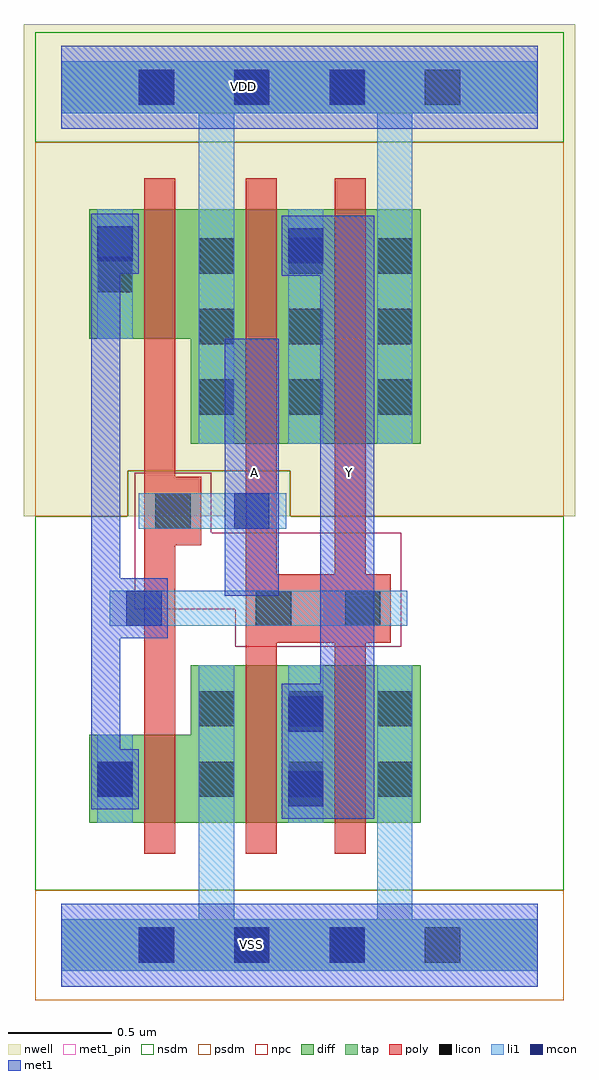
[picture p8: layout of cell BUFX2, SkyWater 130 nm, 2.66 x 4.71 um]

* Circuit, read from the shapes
.subckt BUFX2 A VDD VSS Y
XM1 VSS A n1 VSS sky130_fd_pr__nfet_01v8 w=0.425 l=0.15
XM2 Y n1 VSS VSS sky130_fd_pr__nfet_01v8 w=0.76 l=0.15 m=2
XM3 VDD A n1 VDD sky130_fd_pr__pfet_01v8 w=0.625 l=0.15
XM4 Y n1 VDD VDD sky130_fd_pr__pfet_01v8 w=1.13 l=0.15 m=2
.ends

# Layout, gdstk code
from math import pi, radians
import gdstk
lib = gdstk.Library(unit=1e-6, precision=1e-09)
def R(c, l, rs):  # rectangles x0, y0, x1, y1
    for r in rs: c.add(gdstk.rectangle(r[:2], r[2:], *l))
def A(c, l, x, y, w, h, nx, ny, dx, dy):  # array of equal rectangles
    R(c, l, [(x+i*dx, y+j*dy, x+i*dx+w, y+j*dy+h) for i in range(nx) for j in range(ny)])
def P(c, l, *ps):  # polygons
    for p in ps: c.add(gdstk.Polygon(p, *l))
nwell = (64, 20)
diff = (65, 20)
tap = (65, 44)
poly = (66, 20)
licon = (66, 44)
li1 = (67, 20)
mcon = (67, 44)
met1_pin = (68, 16)
met1 = (68, 20)
nsdm = (93, 44)
psdm = (94, 20)
npc = (95, 20)

pyl1con_c_cdns_751554744 = lib.new_cell('PYL1CON_C_CDNS_751554744751')
R(pyl1con_c_cdns_751554744, poly, [(-0.135,-0.165,0.135,0.165)])
R(pyl1con_c_cdns_751554744, licon, [(-0.085,-0.085,0.085,0.085)])
R(pyl1con_c_cdns_751554744, npc, [(-0.185,-0.185,0.185,0.185)])

bufx2 = lib.new_cell('BUFX2')
R(bufx2, nwell, [(-0.18,2.07,2.48,4.445)])
P(bufx2, diff, [(1.735,1.35),(0.625,1.35),(0.625,1.015),(0.135,1.015),(0.135,0.59),(1.735,0.59)],
  [(1.735,3.55),(0.135,3.55),(0.135,2.925),(0.625,2.925),(0.625,2.42),(1.735,2.42)])
R(bufx2, poly, [(0.4,0.44,0.55,3.7)])
P(bufx2, poly, [(1.59,1.79),(1.47,1.79),(1.47,3.7),(1.32,3.7),(1.32,1.79),(1.04,1.79),(1.04,3.7),(0.89,3.7),(0.89,0.44),(1.04,0.44),(1.04,1.46),(1.32,1.46),(1.32,0.44),(1.47,0.44),(1.47,1.46),(1.59,1.46)])
A(bufx2, licon, 0.375, -0.085, 0.17, 0.17, 4, 2, 0.46, 4.14)
A(bufx2, licon, 0.665, 0.715, 0.17, 0.17, 3, 2, 0.43, 0.34)
A(bufx2, licon, 0.665, 2.56, 0.17, 0.17, 3, 3, 0.43, 0.34)
R(bufx2, licon, [(0.175,0.715,0.345,0.885), (0.175,3.15,0.345,3.32)])
R(bufx2, li1, [(0.175,0.59,0.345,1.015), (1.095,0.59,1.265,1.28), (1.095,0.59,1.265,1.35), (0.175,0.635,0.345,0.965), (0.235,1.54,0.565,1.71), (0.755,2.01,1.085,2.18), (1.095,2.42,1.265,3.55), (0.175,2.925,0.345,3.55), (1.095,3.21,1.265,3.54), (0.175,3.22,0.345,3.55)])
P(bufx2, li1, [(2.3,4.265),(0,4.265),(0,4.015),(0.665,4.015),(0.665,2.42),(0.835,2.42),(0.835,4.015),(1.525,4.015),(1.525,2.42),(1.695,2.42),(1.695,4.015),(2.3,4.015)],
  [(2.3,0.125),(1.695,0.125),(1.695,1.35),(1.525,1.35),(1.525,0.125),(0.835,0.125),(0.835,1.35),(0.665,1.35),(0.665,0.125),(0,0.125),(0,-0.125),(2.3,-0.125)])
A(bufx2, mcon, 0.375, -0.085, 0.17, 0.17, 3, 2, 0.46, 4.14)
R(bufx2, mcon, [(1.095,0.67,1.265,0.84), (0.175,0.715,0.345,0.885), (1.095,1.03,1.265,1.2), (0.315,1.54,0.485,1.71), (0.835,2.01,1.005,2.18), (1.095,3.29,1.265,3.46), (0.175,3.3,0.345,3.47)])
R(bufx2, met1_pin, [(0.79,1.685,1.05,2.925), (1.25,1.685,1.51,2.925)])
R(bufx2, met1, [(1.065,0.61,1.295,1.26), (0.145,0.655,0.375,0.945), (0.285,1.48,0.515,1.77), (0.805,1.95,1.035,2.24), (1.065,3.23,1.295,3.52), (0.145,3.24,0.375,3.53)])
R(bufx2, nsdm, [(-0.125,3.875,2.425,4.405)])
P(bufx2, nsdm, [(2.425,2.07),(1.105,2.07),(1.105,2.29),(0.32,2.29),(0.32,2.07),(-0.125,2.07),(-0.125,0.265),(2.425,0.265)])
R(bufx2, psdm, [(-0.125,-0.265,2.425,0.265)])
P(bufx2, psdm, [(2.425,3.875),(-0.125,3.875),(-0.125,2.07),(0.32,2.07),(0.32,2.29),(1.105,2.29),(1.105,2.07),(2.425,2.07)])
P(bufx2, npc, [(1.64,1.99),(0.355,1.99),(0.355,1.62),(0.84,1.62),(0.84,1.44),(1.64,1.44)])
bufx2.add(gdstk.FlexPath([(0.305,1.625),(1.67,1.625)], 0.17, ends="flush", simple_path=True, layer=67, datatype=20))  # li1
bufx2.add(gdstk.FlexPath([(0.92,2.095),(0.375,2.095)], 0.17, ends="flush", simple_path=True, layer=67, datatype=20))  # li1
bufx2.add(gdstk.FlexPath([(0,4.14),(2.3,4.14)], 0.4, ends="flush", simple_path=True, layer=68, datatype=20))  # met1
bufx2.add(gdstk.FlexPath([(0,0),(2.3,0)], 0.4, ends="flush", simple_path=True, layer=68, datatype=20))  # met1
bufx2.add(gdstk.FlexPath([(1.38,0.61),(1.38,3.52)], 0.26, ends="flush", simple_path=True, layer=68, datatype=20))  # met1
bufx2.add(gdstk.FlexPath([(0.92,1.685),(0.92,2.925)], 0.26, ends="flush", simple_path=True, layer=68, datatype=20))  # met1
bufx2.add(gdstk.FlexPath([(0.215,3.46),(0.215,0.8)], 0.14, ends="extended", simple_path=True, layer=68, datatype=20))  # met1
bufx2.add(gdstk.FlexPath([(0,0),(2.3,0)], 0.25, ends="flush", simple_path=True, layer=65, datatype=44))  # tap
bufx2.add(gdstk.FlexPath([(0,4.14),(2.3,4.14)], 0.25, ends="flush", simple_path=True, layer=65, datatype=44))  # tap
bufx2.add(gdstk.FlexPath([(0,0),(2.3,0)], 0.4, ends="flush", simple_path=True, layer=68, datatype=16))  # met1_pin
bufx2.add(gdstk.FlexPath([(0,4.14),(2.3,4.14)], 0.4, ends="flush", simple_path=True, layer=68, datatype=16))  # met1_pin
bufx2.add(gdstk.Reference(pyl1con_c_cdns_751554744, (1.455,1.625), rotation=pi))
bufx2.add(gdstk.Reference(pyl1con_c_cdns_751554744, (0.54,2.095), x_reflection=True))
bufx2.add(gdstk.Reference(pyl1con_c_cdns_751554744, (1.025,1.625), rotation=pi))
bufx2.add(gdstk.Label('VSS', (0.92,0.005), layer=68, texttype=5))
bufx2.add(gdstk.Label('VDD', (0.88,4.145), layer=68, texttype=5))
bufx2.add(gdstk.Label('A', (0.935,2.28), layer=68, texttype=5))
bufx2.add(gdstk.Label('Y', (1.39,2.28), layer=68, texttype=5))

lib.write_gds('BUFX2.gds')
